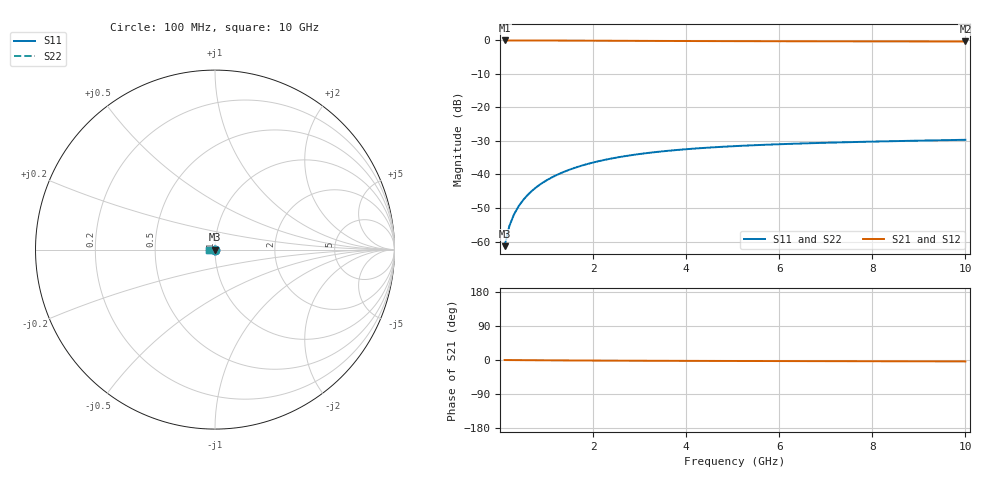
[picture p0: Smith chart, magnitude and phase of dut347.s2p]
! Touchstone file exported from HFSS 2024.1.0
!  File:  C:/UserFiles/LocalFiles/RDL_TSV_Batchsim/temp_TSV1_347_1779619635.aedt
!  Generated:  06:54:09 PM May 24, 2026
!  Design:  TSV1
!  Project:  temp_TSV1_347_1779619635
!  Setup:  Setup1
!  Solution:  Sweep
! Variables:
!  dtsv = 9.24um
!  hbump = 3um
!  htsv = 56.49um
!  lrdl = 252.1521522um
!  p = 40
!  p1 = 43.16um
!  t = 500um
!  trdl = 3um
!  wrdl = 24.89489489um
# GHz S MA R 50.000000
! Terminal data exported
! Port[1] = TSV22_T1
! Port[2] = TSV22_T2
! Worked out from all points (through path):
!   100 points, 100 MHz to 10 GHz, reference 50 ohm
!   highest |S21| = 0.00 dB at 100 MHz (marker M1); lowest = -0.3 dB at 10 GHz (marker M2)
!   lowest |S11| = -61.4 dB at 100 MHz (marker M3), VSWR 1.00, Z = 50 - j0.0844 ohm
!   |S11| at or under -10 dB: start of sweep to end of sweep
!   |S22| runs from -61.4 to -29.6 dB; largest |S21 - S12| = 1.5e-15
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0.1  0.000852 -82.1  0.9998 -0.1  0.9998 -0.1  0.000852 -82.1
! Gamma 0 0 0 0
! Port Impedance 50 0 50 0
0.2  0.001685 -88.6  0.9997 -0.2  0.9997 -0.2  0.001685 -88.6
0.3  0.002519 -91.9  0.9996 -0.3  0.9996 -0.3  0.002519 -91.9
0.4  0.00335 -94.3  0.9994 -0.3  0.9994 -0.3  0.00335 -94.3
0.5  0.004175 -96.5  0.9992 -0.4  0.9992 -0.4  0.004175 -96.5
0.6  0.004994 -98.4  0.9989 -0.5  0.9989 -0.5  0.004994 -98.4
0.7  0.005805 -100.3  0.9986 -0.6  0.9986 -0.6  0.005805 -100.3
0.8  0.006605 -102.1  0.9982 -0.7  0.9982 -0.7  0.006605 -102.1
0.9  0.007395 -103.8  0.9978 -0.8  0.9978 -0.8  0.007395 -103.8
1.1  0.008936 -107.1  0.9969 -0.9  0.9969 -0.9  0.008936 -107.1
1.4  0.01114 -111.8  0.9954 -1.1  0.9954 -1.1  0.01114 -111.8
1.6  0.01252 -114.8  0.9942 -1.2  0.9942 -1.2  0.01252 -114.8
1.8  0.01383 -117.7  0.9931 -1.4  0.9931 -1.4  0.01383 -117.7
2.1  0.01567 -121.8  0.9912 -1.5  0.9912 -1.5  0.01567 -121.8
2.5  0.01785 -126.8  0.9888 -1.7  0.9888 -1.7  0.01785 -126.8
2.9  0.01977 -131.5  0.9864 -1.9  0.9864 -1.9  0.01977 -131.5
3.4  0.02181 -136.8  0.9836 -2.1  0.9836 -2.1  0.02181 -136.8
4.2  0.02441 -144.1  0.9797 -2.4  0.9797 -2.4  0.02441 -144.1
5.1  0.02661 -151.1  0.976 -2.6  0.976 -2.6  0.02661 -151.1
6.7  0.02933 -161.0  0.9713 -3.0  0.9713 -3.0  0.02933 -161.0
8.4  0.03137 -169.3  0.9679 -3.4  0.9679 -3.4  0.03137 -169.3
10  0.03294 -175.9  0.9657 -3.7  0.9657 -3.7  0.03294 -175.9
